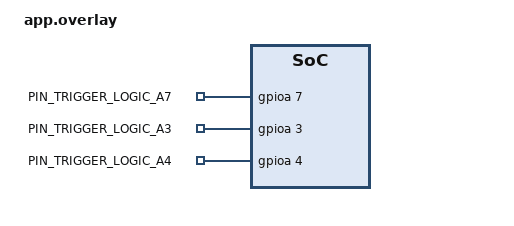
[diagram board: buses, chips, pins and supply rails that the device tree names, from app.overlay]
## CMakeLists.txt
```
# SPDX-License-Identifier: Apache-2.0

cmake_minimum_required(VERSION 3.20.0)
find_package(Zephyr REQUIRED HINTS $ENV{ZEPHYR_BASE})
project(GPIO)

target_sources(app PRIVATE src/main.c)
```

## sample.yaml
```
sample:
  name: GPIO lab
tests:
  sample.basic.blinky:
    tags:
      - LED
      - gpio
    filter: dt_enabled_alias_with_parent_compat("led0", "gpio-leds")
    depends_on: gpio
    harness: led
    integration_platforms:
      - frdm_k64f
```

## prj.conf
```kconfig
CONFIG_PRINTK=y
CONFIG_HEAP_MEM_POOL_SIZE=256
CONFIG_ASSERT=y
CONFIG_GPIO=y
CONFIG_PRIORITY_CEILING=100
CONFIG_THREAD_RUNTIME_STATS=y
```

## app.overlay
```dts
/ {
	pins {
		compatible = "gpio-leds";
		a7: a7 {
			gpios = <&gpioa 7 GPIO_ACTIVE_HIGH>;
			label = "PIN_TRIGGER_LOGIC_A7";
		};
		a3: a3 {
			gpios = <&gpioa 3 GPIO_ACTIVE_HIGH>;
			label = "PIN_TRIGGER_LOGIC_A3";
		};
		a4: a4 {
			gpios = <&gpioa 4 GPIO_ACTIVE_HIGH>;
			label = "PIN_TRIGGER_LOGIC_A4";
		};
	};
};
```

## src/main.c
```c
/*
 * 2024, DLH
 * 
 */

#include <zephyr/kernel.h>
#include <zephyr/device.h>
#include <zephyr/drivers/gpio.h>
#include <zephyr/sys/printk.h>
#include <zephyr/sys/__assert.h>
#include <string.h>

/* size of stack area used by each thread */
#define STACKSIZE 1024

/* Scheduling priority used by each thread.
 * "A thread’s priority is an integer value, 
 *  and can be either negative or non-negative. 
 *  Numerically lower priorities takes precedence 
 *  over numerically higher values."
 * https://docs.zephyrproject.org/latest/kernel/services/threads/index.html#thread-priorities
 */
#define PRIORITY_A 7
#define PRIORITY_B 8
#define PRIORITY_C 9
#define PRIORITY_UART 12

/* Get a handle to the device from the device tree using an alias.
 * Aliases are defined in boards/riscv/longan_nano/longan_nano-common.dtsi
 */
#define LED0_NODE DT_ALIAS(led0)
#define LED1_NODE DT_ALIAS(led1)
#define LED2_NODE DT_ALIAS(led2)

/* Get a handle to the device from the device tree using a label.
 * Those are defined in an overlay located at the project root ./app.overlay
 * or in the board folder ./boards/longan-nano.overlay
 */
#define A7_NODE DT_NODELABEL(a7) // Connect to CH3
#define A3_NODE DT_NODELABEL(a3) // Connect to CH2
#define A4_NODE DT_NODELABEL(a4) // Connect to CH1

#if !DT_NODE_HAS_STATUS(LED0_NODE, okay)
#error "Unsupported board: led0 devicetree alias is not defined"
#endif

#if !DT_NODE_HAS_STATUS(LED1_NODE, okay)
#error "Unsupported board: led1 devicetree alias is not defined"
#endif

#if !DT_NODE_HAS_STATUS(LED2_NODE, okay)
#error "Unsupported board: led2 devicetree alias is not defined"
#endif

struct gpio {
	/* Details of the gpio: port, label, active high or low, ... */
	struct gpio_dt_spec spec;
	/* Arbitrary ID used for debug print */
	uint8_t num;
};

static const struct gpio led0 = {
	.spec = GPIO_DT_SPEC_GET_OR(LED0_NODE, gpios, {0}),
	.num = 0,
};

static const struct gpio led1 = {
	.spec = GPIO_DT_SPEC_GET_OR(LED1_NODE, gpios, {0}),
	.num = 1,
};

static const struct gpio led2 = {
	.spec = GPIO_DT_SPEC_GET_OR(LED2_NODE, gpios, {0}),
	.num = 2,
};

static const struct gpio a7 = {
	.spec = GPIO_DT_SPEC_GET_OR(A7_NODE, gpios, {0}),
	.num = 0,
};

static const struct gpio a3 = {
	.spec = GPIO_DT_SPEC_GET_OR(A3_NODE, gpios, {0}),
	.num = 0,
};

static const struct gpio a4 = {
	.spec = GPIO_DT_SPEC_GET_OR(A4_NODE, gpios, {0}),
	.num = 0,
};

struct k_mutex my_mutex; 

void blink(const struct gpio *led, const struct gpio *pin, uint32_t period_ms, uint32_t ontime_ms, uint32_t id)
{
	const struct gpio_dt_spec *spec = &led->spec;
	const struct gpio_dt_spec *spec_trig = &pin->spec;
	int cnt = 0;
	int ret;

	if (!device_is_ready(spec->port)) {
		printk("Error: %s device is not ready\n", spec->port->name);
		return;
	}

	ret = gpio_pin_configure_dt(spec, GPIO_OUTPUT);
	if (ret != 0) {
		printk("Error %d: failed to configure pin %d (LED '%d')\n",
			ret, spec->pin, led->num);
		return;
	}
	
	ret = gpio_pin_configure_dt(spec_trig, GPIO_OUTPUT);
	if (ret != 0) {
		printk("Error %d: failed to configure pin %d (TRIG '%d')\n",
			ret, spec_trig->pin, pin->num);
		return;
	}

	gpio_pin_set(spec->port, spec->pin, 0);
	gpio_pin_set(spec_trig->port, spec_trig->pin, 0);

	while (1) {
		uint32_t start_time = k_uptime_get_32();

		/* Set the value of the pin, 0 or 1 */
		gpio_pin_set(spec->port, spec->pin, 1);
		gpio_pin_set(spec_trig->port, spec_trig->pin, 1);
		k_mutex_lock(&my_mutex, K_FOREVER);
		k_msleep(ontime_ms);
		k_mutex_unlock(&my_mutex);
		gpio_pin_set(spec->port, spec->pin, 0);
		gpio_pin_set(spec_trig->port, spec_trig->pin, 0);

		/* Sleep cycles = period - time_elapsed */
		// TODO Test if it works with the proper `k_uptime_delta()` function
		// https://docs.zephyrproject.org/apidoc/latest/group__clock__apis.html#gad748b2fe83b36884dc087b4af367de80
		uint32_t elap_time = k_uptime_get_32() - start_time;
		uint32_t sleep_ms = period_ms - elap_time;
		printk("Thread: %d, elap_time=%d, sleep_ms=%d\n",id, elap_time, sleep_ms);
		if(sleep_ms > 0) {
			//printk("Going to sleep for %d \n", sleep_ms);
			k_msleep(sleep_ms);
		}

		/*k_msleep(period_ms);*/
		cnt++;
	}
}

void blink0(void)
{
	blink(&led0, &a7, 200, 25,  0);
}

void blink1(void)
{
	blink(&led1, &a3, 500, 100, 1);
}

void blink2(void)
{
	blink(&led2, &a4, 1000, 200, 2);
}

/* Define a mutex */
K_MUTEX_DEFINE(my_mutex);

K_THREAD_DEFINE(blink0_id, STACKSIZE, blink0, NULL, NULL, NULL,
		PRIORITY_A, 0, 0);
K_THREAD_DEFINE(blink1_id, STACKSIZE, blink1, NULL, NULL, NULL,
		PRIORITY_B, 0, 0);
K_THREAD_DEFINE(blink2_id, STACKSIZE, blink2, NULL, NULL, NULL,
		PRIORITY_C, 0, 0);
```
